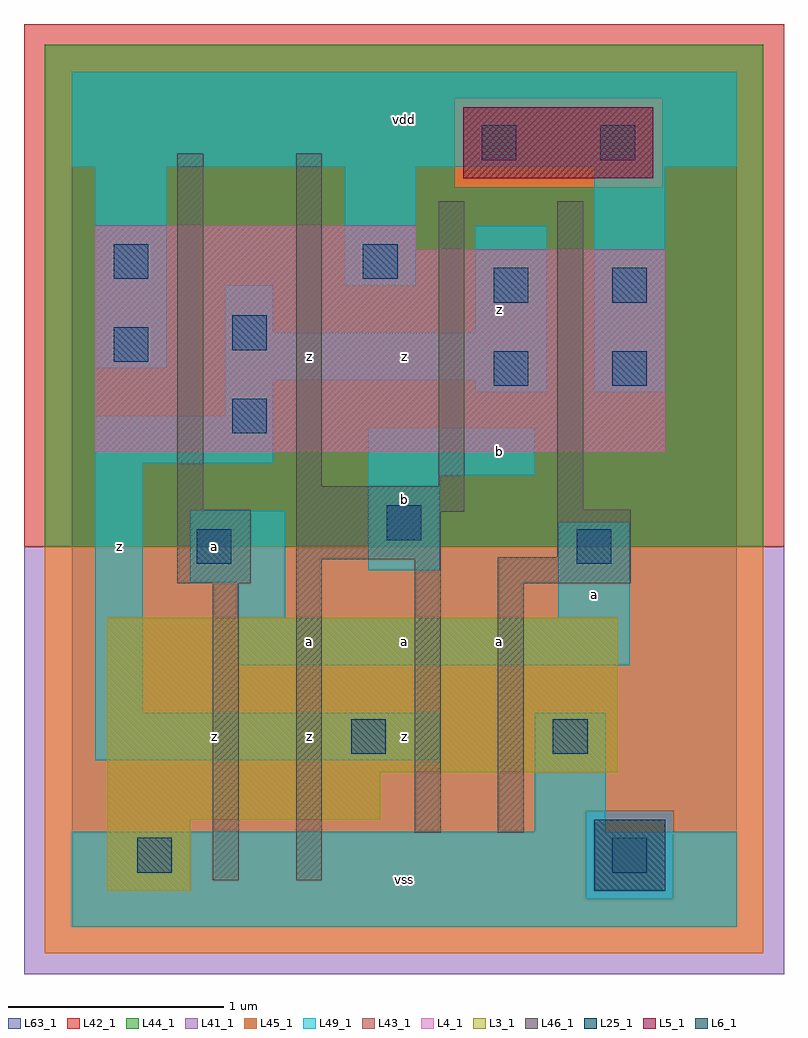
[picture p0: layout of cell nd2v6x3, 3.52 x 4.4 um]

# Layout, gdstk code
import gdstk
lib = gdstk.Library(unit=1e-6, precision=1e-09)
def R(c, l, rs):  # rectangles x0, y0, x1, y1
    for r in rs: c.add(gdstk.rectangle(r[:2], r[2:], *l))
L3_1 = (3, 1)
L4_1 = (4, 1)
L5_1 = (5, 1)
L6_1 = (6, 1)
L25_1 = (25, 1)
L41_1 = (41, 1)
L42_1 = (42, 1)
L43_1 = (43, 1)
L44_1 = (44, 1)
L45_1 = (45, 1)
L46_1 = (46, 1)
L49_1 = (49, 1)
L63_1 = (63, 1)

nd2v6x3 = lib.new_cell('nd2v6x3')
R(nd2v6x3, L3_1, [(0.165,0.165,0.55,0.495), (0.165,0.495,1.43,0.715), (0.165,0.715,2.53,1.43)])
R(nd2v6x3, L4_1, [(0.11,2.2,2.75,3.135), (0.11,3.135,1.595,3.245)])
R(nd2v6x3, L5_1, [(1.815,3.465,2.695,3.795)])
R(nd2v6x3, L6_1, [(2.42,0.165,2.75,0.495)])
R(nd2v6x3, L25_1, [(0.305,0.25,0.465,0.41), (2.505,0.25,2.665,0.41), (1.295,0.8,1.455,0.96), (2.23,0.8,2.39,0.96), (0.58,1.68,0.74,1.84), (2.34,1.68,2.5,1.84), (1.46,1.79,1.62,1.95), (0.745,2.285,0.905,2.445), (1.955,2.505,2.115,2.665), (2.505,2.505,2.665,2.665), (0.195,2.615,0.355,2.775), (0.745,2.67,0.905,2.83), (1.955,2.89,2.115,3.05), (2.505,2.89,2.665,3.05), (0.195,3,0.355,3.16), (1.35,3,1.51,3.16), (1.9,3.55,2.06,3.71), (2.45,3.55,2.61,3.71)])
R(nd2v6x3, L41_1, [(-0.22,-0.22,3.3,1.76)])
R(nd2v6x3, L42_1, [(-0.22,1.76,3.3,4.18)])
R(nd2v6x3, L43_1, [(0.165,0.165,0.55,0.495), (2.42,0.165,2.75,0.495), (0.165,0.495,1.43,0.715), (0.165,0.715,2.53,1.43), (0.11,2.2,2.75,3.135), (0.11,3.135,1.595,3.245), (1.815,3.465,2.695,3.795)])
R(nd2v6x3, L44_1, [(2.38,0.125,2.79,0.535), (-0.125,1.76,3.205,3.425), (-0.125,3.425,1.775,3.835), (2.735,3.425,3.205,3.835), (-0.125,3.835,3.205,4.085)])
R(nd2v6x3, L45_1, [(-0.125,-0.125,3.205,0.125), (-0.125,0.125,2.38,0.535), (2.79,0.125,3.205,0.535), (-0.125,0.535,3.205,1.76), (1.775,3.425,2.735,3.835)])
R(nd2v6x3, L46_1, [(0.655,0.215,0.775,1.59), (1.04,0.215,1.16,1.7), (1.59,0.435,1.71,1.7), (1.975,0.435,2.095,1.59), (0.49,1.59,0.83,1.93), (1.975,1.59,2.59,1.71), (1.04,1.7,1.71,1.92), (2.25,1.71,2.59,1.93), (1.04,1.92,1.82,2.04), (0.49,1.93,0.61,3.58), (2.25,1.93,2.37,3.36), (1.04,2.04,1.16,3.58), (1.7,2.04,1.82,3.36)])
R(nd2v6x3, L49_1, [(0,0,3.08,0.44), (2.145,0.44,2.475,0.99), (0.11,0.77,1.705,0.99), (0.11,0.99,0.33,2.145), (0.77,1.21,2.585,1.43), (0.77,1.43,0.99,1.595), (2.255,1.43,2.585,1.87), (0.55,1.595,0.99,1.925), (1.375,1.65,1.705,2.09), (1.375,2.09,2.145,2.31), (0.11,2.145,0.935,2.365), (0.715,2.365,0.935,2.53), (1.87,2.475,2.2,2.53), (2.42,2.475,2.75,3.52), (0.715,2.53,2.2,2.75), (0.11,2.585,0.44,3.52), (0.715,2.75,0.935,2.97), (1.87,2.75,2.2,3.245), (1.265,2.97,1.595,3.52), (0,3.52,3.08,3.96)])
R(nd2v6x3, L63_1, [(0,0,3.08,3.96)])
nd2v6x3.add(gdstk.Label('z', (0.22,1.76), layer=49, texttype=1))
nd2v6x3.add(gdstk.Label('z', (1.1,0.88), layer=49, texttype=1))
nd2v6x3.add(gdstk.Label('z', (0.66,0.88), layer=49, texttype=1))
nd2v6x3.add(gdstk.Label('a', (0.66,1.76), layer=49, texttype=1))
nd2v6x3.add(gdstk.Label('a', (1.1,1.32), layer=49, texttype=1))
nd2v6x3.add(gdstk.Label('z', (1.1,2.64), layer=49, texttype=1))
nd2v6x3.add(gdstk.Label('vss', (1.54,0.22), layer=49, texttype=1))
nd2v6x3.add(gdstk.Label('z', (1.54,0.88), layer=49, texttype=1))
nd2v6x3.add(gdstk.Label('a', (1.54,1.32), layer=49, texttype=1))
nd2v6x3.add(gdstk.Label('a', (1.98,1.32), layer=49, texttype=1))
nd2v6x3.add(gdstk.Label('b', (1.98,2.2), layer=49, texttype=1))
nd2v6x3.add(gdstk.Label('b', (1.54,1.98), layer=49, texttype=1))
nd2v6x3.add(gdstk.Label('z', (1.54,2.64), layer=49, texttype=1))
nd2v6x3.add(gdstk.Label('z', (1.98,2.86), layer=49, texttype=1))
nd2v6x3.add(gdstk.Label('vdd', (1.54,3.74), layer=49, texttype=1))
nd2v6x3.add(gdstk.Label('a', (2.42,1.54), layer=49, texttype=1))

lib.write_gds('nd2v6x3.gds')
